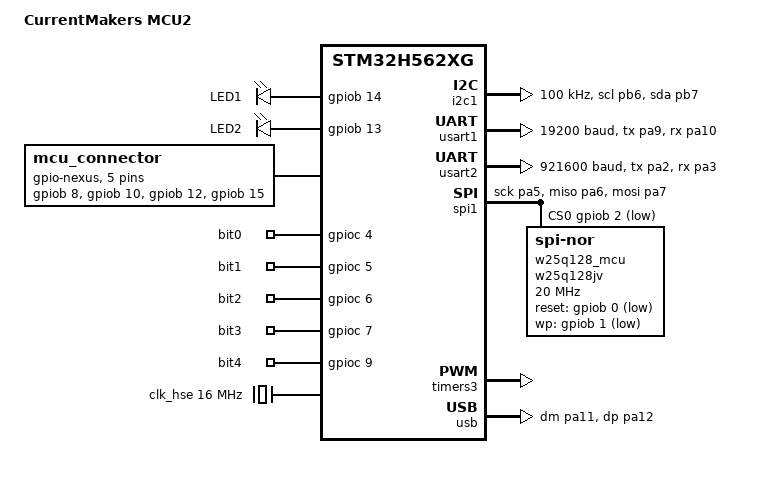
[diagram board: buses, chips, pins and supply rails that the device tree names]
/dts-v1/;
#include <st/h5/stm32h562Xg.dtsi>
#include <st/h5/stm32h562rgtx-pinctrl.dtsi>
#include "./colibri_mcu2-pinctrl.dtsi"
#include <zephyr/dt-bindings/gpio/gpio.h>
#include <zephyr/dt-bindings/pwm/pwm.h>
#include <zephyr/dt-bindings/i2c/i2c.h>
#include <zephyr/dt-bindings/dma/stm32_dma.h>

/ {
	model = "CurrentMakers MCU2";
	compatible = "currentmakers,mcu2";

	chosen {
		/* USART2 is your Debugger/Shell link */
		zephyr,console = &usart2;
		zephyr,shell-uart = &usart2;
		zephyr,sram = &sram1;
		zephyr,dtcm = &sram2;
		zephyr,flash = &flash0;
	};

	leds {
		compatible = "gpio-leds";

		green_led: led_0 {
			gpios = <&gpiob 14 GPIO_ACTIVE_HIGH>;
			label = "LED1";
		};

		red_led: led_1 {
			gpios = <&gpiob 13 GPIO_ACTIVE_HIGH>;
			label = "LED2";
		};
	};

	aliases {
		led0 = &green_led;
		led1 = &red_led;
	};

	/* AUX pins for Carrier Board (Shield) */
	mcu_connector: mcu-slot-connector {
		compatible = "gpio-nexus";
		#gpio-cells = <2>;
		gpio-map-mask = <0xffffffff 0xffffffff>;
		gpio-map-pass-thru = <0 0>;
		gpio-map = <1 0 &gpiob 8 0>,  /* AUX1 */
				   <2 0 &gpiob 10 0>, /* AUX2 */
				   <3 0 &gpiob 12 0>, /* AUX3 */
				   <4 0 &gpiob 15 0>, /* AUX4 */
				   <5 0 &gpioa 15 0>; /* IO_RST */
	};

	slot_count: slot-count {
		compatible = "gpio-keys";
		/* Each pin must be a child node for this compatible */
		bit0: bit_0 { gpios = <&gpioc 4 GPIO_ACTIVE_HIGH>; };
		bit1: bit_1 { gpios = <&gpioc 5 GPIO_ACTIVE_HIGH>; };
		bit2: bit_2 { gpios = <&gpioc 6 GPIO_ACTIVE_HIGH>; };
		bit3: bit_3 { gpios = <&gpioc 7 GPIO_ACTIVE_HIGH>; };
		bit4: bit_4 { gpios = <&gpioc 9 GPIO_ACTIVE_HIGH>; };
	};
};

/* Clock Configuration  */
&clk_hse {
	clock-frequency = <DT_FREQ_M(16)>;
	status = "okay";
};

&pll {
	div-m = <8>;
	mul-n = <192>;
	div-p = <2>;
	div-q = <8>;
	div-r = <2>;
	clocks = <&clk_hse>;
	status = "okay";
};

&rcc {
	clocks = <&pll>;
	clock-frequency = <DT_FREQ_M(192)>;
	ahb-prescaler = <1>;
	apb1-prescaler = <1>;
	apb2-prescaler = <1>;
	apb3-prescaler = <1>;
};

/*Trick the build system to recognize sram2 as DTCM for testing, remove when this is no longer needed */
&sram2 {
	compatible = "zephyr,memory-region", "mmio-sram";
    zephyr,memory-region = "DTCM";  
};

/* I2C1: Carrier Bus (configured here so the shield can extend it) */
&i2c1 {
	pinctrl-0 = <&i2c1_scl_pb6 &i2c1_sda_pb7>;
	pinctrl-names = "default";
	clock-frequency = <I2C_BITRATE_STANDARD>;
	status = "okay";
};

/* USART1: Reserved for Carrier Board (e.g., Modbus/RS-485) */
&usart1 {
	pinctrl-0 = <&usart1_tx_pa9 &usart1_rx_pa10>;
	pinctrl-names = "default";
	current-speed = <19200>;
	status = "okay";
};

/* USART2: Dedicated for Debugging */
&usart2 {
	pinctrl-0 = <&usart2_tx_pa2 &usart2_rx_pa3>;
	pinctrl-names = "default";
	current-speed = <921600>;
	status = "okay";
};

&spi1 {
	pinctrl-0 = <&spi1_sck_pa5 &spi1_miso_pa6 &spi1_mosi_pa7>;
	pinctrl-names = "default";
	status = "okay";
	cs-gpios = <&gpiob 2 GPIO_ACTIVE_LOW>;

	w25q128_mcu: w25q128jv@0 {
		compatible = "jedec,spi-nor";
		reg = <0>;
		spi-max-frequency = <20000000>;
		size = <0x8000000>; /* 128Mbit */
		jedec-id = [ef 40 18];
		reset-gpios = <&gpiob 0 GPIO_ACTIVE_LOW>;
		wp-gpios = <&gpiob 1 GPIO_ACTIVE_LOW>;
		status = "okay";
	};
};

&timers3 {
	/*Now required since h562s rcc has TIMPRE bit that modifies the default timer behavior (if bus psc != 1 && TIMPRE (st, prescaler) == 0 then tims psc == 2 * psc (like on older chips), and if bus psc != 1 && TIMPRE (st, prescaler) == 1 then tims psc == 4 *  psc  )  */
	st,prescaler = <0>;
	status = "okay";

	pwm3: pwm {
		status = "okay";
		pinctrl-0 = <&tim3_ch2_pb5>;
		pinctrl-names = "default";
	};
};


/*device specific stuff*/

&gpdma1 {
	status = "okay";
};

/*This seems to change just the defines generated that affect the setup, still plugs into the same driver, pin names preserved for compat */

&usb {
	pinctrl-0 = <&usb_otg_fs_dm_pa11 &usb_otg_fs_dp_pa12>;
	pinctrl-names = "default";
	status = "okay";
};
